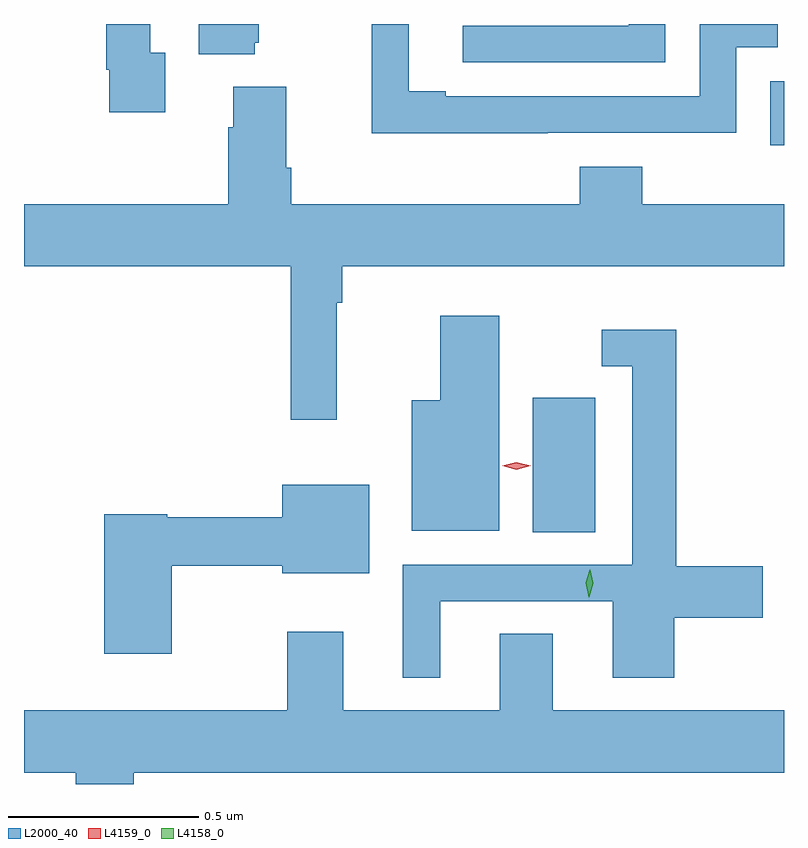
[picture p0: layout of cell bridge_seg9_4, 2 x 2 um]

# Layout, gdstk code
import gdstk
lib = gdstk.Library(unit=1e-6, precision=1e-09)
def R(c, l, rs):  # rectangles x0, y0, x1, y1
    for r in rs: c.add(gdstk.rectangle(r[:2], r[2:], *l))
def P(c, l, *ps):  # polygons
    for p in ps: c.add(gdstk.Polygon(p, *l))
L2000_40 = (2000, 40)
L4158_0 = (4158, 0)
L4159_0 = (4159, 0)

bridge_seg9_4 = lib.new_cell('bridge_seg9_4')
R(bridge_seg9_4, L2000_40, [(1047.578,1235.68,1047.742,1236.034), (1048.203,1236.699,1048.239,1236.867)])
P(bridge_seg9_4, L2000_40, [(1046.611,1236.942),(1046.571,1236.942),(1046.571,1237.018),(1046.455,1237.018),(1046.455,1236.898),(1046.463,1236.898),(1046.463,1236.786),(1046.611,1236.786)],
  [(1046.846,1236.969),(1046.857,1236.969),(1046.857,1237.018),(1046.699,1237.018),(1046.699,1236.938),(1046.846,1236.938)],
  [(1047.927,1237.018),(1047.831,1237.018),(1047.831,1237.014),(1047.393,1237.014),(1047.393,1236.918),(1047.927,1236.918)],
  [(1047.617,1236.732),(1048.113,1236.732),(1048.113,1236.957),(1048.223,1236.957),(1048.223,1237.018),(1048.017,1237.018),(1048.017,1236.828),(1047.349,1236.828),(1047.349,1236.841),(1047.252,1236.841),(1047.252,1237.018),(1047.154,1237.018),(1047.154,1236.731),(1047.617,1236.731)],
  [(1047.062,1236.284),(1047.077,1236.284),(1047.077,1236.38),(1048.239,1236.38),(1048.239,1236.544),(1047.866,1236.544),(1047.866,1236.643),(1047.701,1236.643),(1047.701,1236.544),(1046.942,1236.544),(1046.942,1236.64),(1046.929,1236.64),(1046.929,1236.853),(1046.789,1236.853),(1046.789,1236.746),(1046.777,1236.746),(1046.777,1236.544),(1046.239,1236.544),(1046.239,1236.38),(1046.941,1236.38),(1046.941,1235.976),(1047.062,1235.976)],
  [(1047.49,1236.25),(1047.335,1236.25),(1047.335,1236.028),(1047.26,1236.028),(1047.26,1235.684),(1047.49,1235.684)],
  [(1047.334,1235.499),(1047.788,1235.499),(1047.788,1235.298),(1047.95,1235.298),(1047.95,1235.456),(1048.183,1235.456),(1048.183,1235.591),(1047.956,1235.591),(1047.956,1236.214),(1047.759,1236.214),(1047.759,1236.117),(1047.84,1236.117),(1047.84,1235.595),(1047.236,1235.595),(1047.236,1235.298),(1047.334,1235.298)],
  [(1046.628,1235.592),(1046.918,1235.592),(1046.918,1235.573),(1047.148,1235.573),(1047.148,1235.806),(1046.918,1235.806),(1046.918,1235.72),(1046.616,1235.72),(1046.616,1235.728),(1046.45,1235.728),(1046.45,1235.361),(1046.628,1235.361)],
  [(1046.528,1235.048),(1048.239,1235.048),(1048.239,1235.212),(1047.631,1235.212),(1047.631,1235.414),(1047.491,1235.414),(1047.491,1235.212),(1047.079,1235.212),(1047.079,1235.419),(1046.932,1235.419),(1046.932,1235.212),(1046.239,1235.212),(1046.239,1235.048),(1046.375,1235.048),(1046.375,1235.018),(1046.528,1235.018)])
P(bridge_seg9_4, L4158_0, [(1047.725,1235.51),(1047.717,1235.547),(1047.728,1235.582),(1047.729,1235.582),(1047.729,1235.582),(1047.737,1235.546),(1047.726,1235.51),(1047.726,1235.51)])
P(bridge_seg9_4, L4159_0, [(1047.535,1235.845),(1047.497,1235.855),(1047.496,1235.855),(1047.497,1235.855),(1047.535,1235.865),(1047.573,1235.855),(1047.573,1235.855),(1047.573,1235.855)])

lib.write_gds('bridge_seg9_4.gds')
